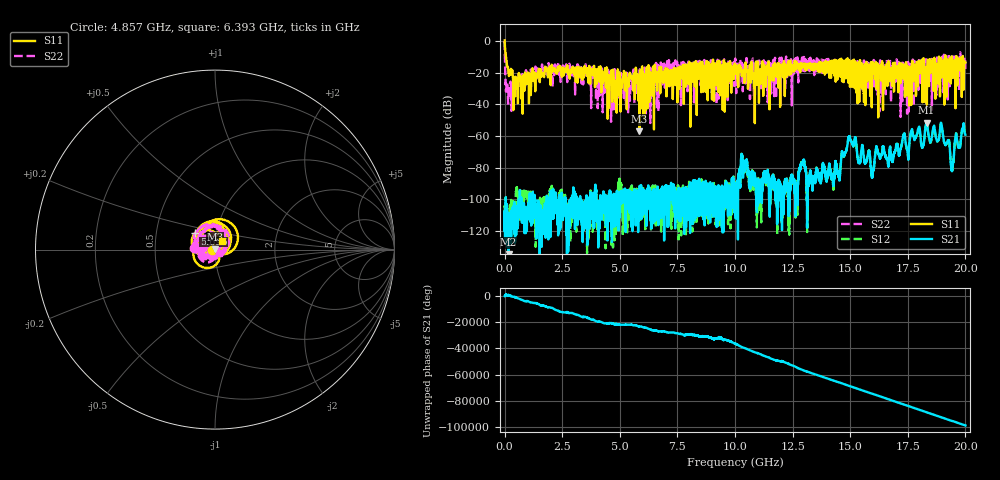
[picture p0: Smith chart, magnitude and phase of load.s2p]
! MS46122B
! 2250307/22442219
! 2/24/2026 9:15:50 AM
! C:\USERS\SPARKY\DOCUMENTS\VNA_DATA\FEB24_2026\WARM-PORT1-CABLE\LOAD.S2P
! CHANNEL.1
! TR.MEASUREMENT
! RAW.DATA
# GHZ S RI R 50.0
! FREQ.GHZ  S11RE  S11IM  S21RE  S21IM  S12RE  S12IM  S22RE  S22IM
!; PortSelection: Port_12
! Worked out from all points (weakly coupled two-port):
!   10001 points, 1 MHz to 20 GHz, reference 50 ohm
!   highest |S21| = -51.51 dB at 18.32 GHz (marker M1); lowest = -140.0 dB at 173 MHz (marker M2)
!   lowest |S11| = -57.0 dB at 5.853 GHz (marker M3), VSWR 1.00, Z = 50 + j0.135 ohm
!   |S11| at or under -10 dB: 59.89 MHz to 18.85 GHz (18.79 GHz wide, 199 % of centre); 18.86 GHz to 19.12 GHz (254.2 MHz wide, 1.34 % of centre); 19.15 GHz to 19.4 GHz (255 MHz wide, 1.32 % of centre) (the widest 3 of 6)
!   |S22| runs from -51.8 to -0.2 dB; largest |S21 - S12| = 0.00089
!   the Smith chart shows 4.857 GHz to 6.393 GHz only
!   S11 on the Smith chart (normalised r, x): 4.857 GHz: 0.97, -0.01; 5.695 GHz: 0.78, +0.14; 6.393 GHz: 1.07, +0.11
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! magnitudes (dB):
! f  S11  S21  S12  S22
! 1 MHz  0.4  -119.3  -113.0  -0.2
! 173 MHz  -20.5  -140.0  -116.6  -30.6
! 479 MHz  -22.5  -120.9  -98.2  -24.9
! 3.335 GHz  -16.9  -112.4  -105.2  -21.6
! 4.857 GHz  -34.9  -97.7  -99.9  -18.8
! 5.695 GHz  -16.8  -102.4  -95.4  -32.4
! 5.853 GHz  -57.0  -94.3  -110.0  -19.6
! 6.393 GHz  -24.0  -98.8  -96.4  -31.2
! 6.669 GHz  -21.4  -106.7  -101.5  -24.0
! 10 GHz  -15.4  -103.6  -104.9  -11.8
! 13.33 GHz  -14.6  -87.8  -87.5  -12.2
! 14.5 GHz  -18.3  -84.3  -85.4  -20.4
! 14.99 GHz  -27.9  -60.5  -60.7  -16.5
! 15.96 GHz  -14.5  -86.2  -85.8  -14.1
! 16.17 GHz  -15.9  -68.1  -68.0  -17.2
! 16.67 GHz  -13.0  -78.7  -78.4  -13.0
! 17.68 GHz  -14.5  -55.7  -55.7  -22.9
! 18.14 GHz  -26.7  -66.9  -67.0  -17.5
! 18.32 GHz  -22.7  -51.5  -51.8  -16.7
! 18.97 GHz  -19.1  -53.4  -53.7  -12.6
! 19.42 GHz  -10.8  -80.9  -82.1  -15.1
! 20 GHz  -13.5  -59.2  -59.7  -18.0
